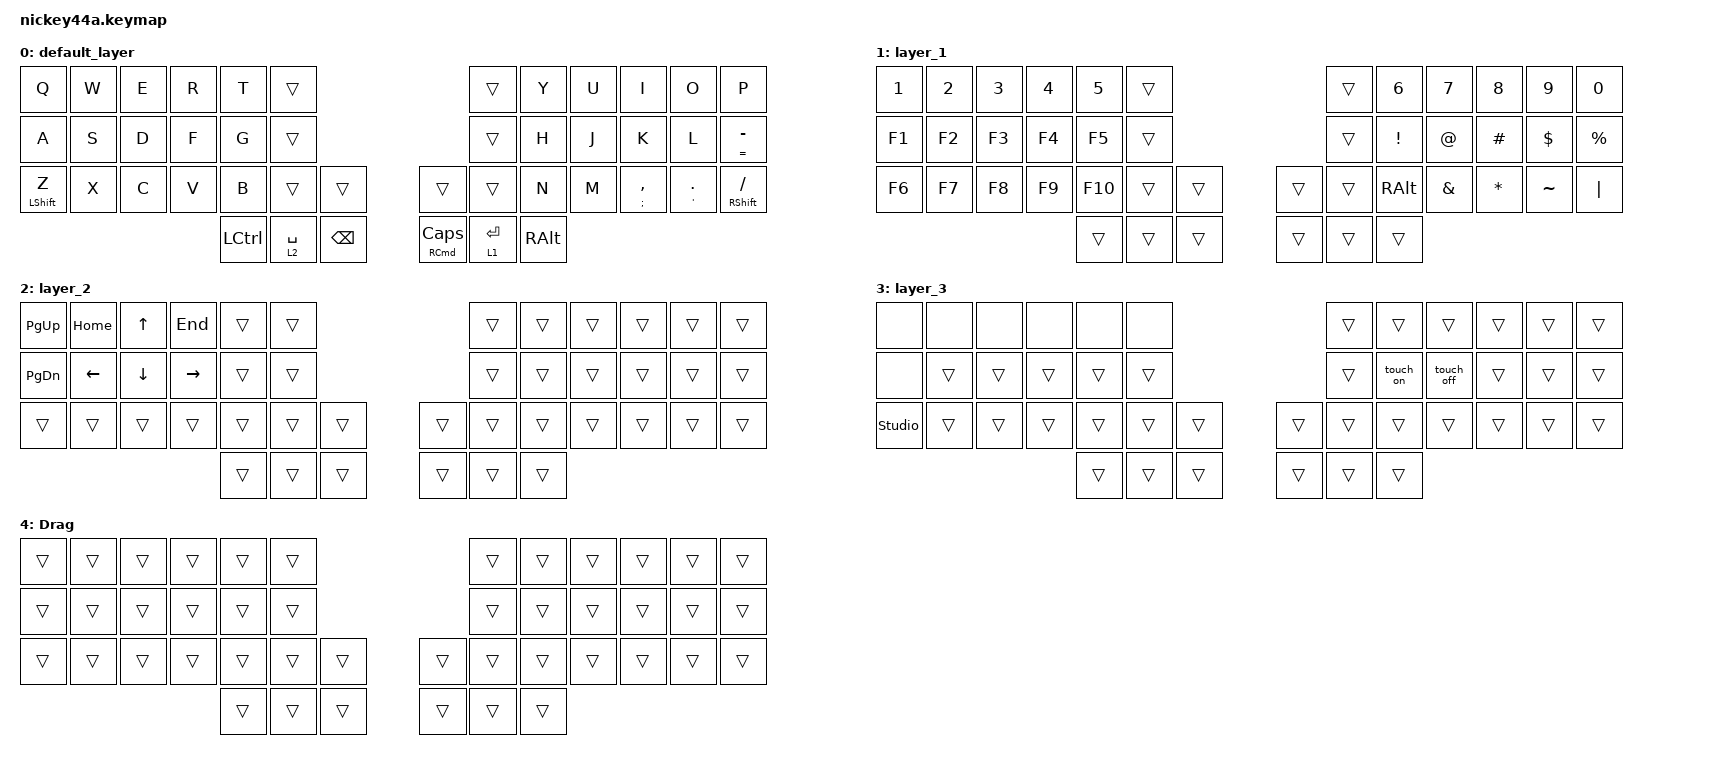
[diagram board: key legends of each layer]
#include <behaviors.dtsi>
#include <dt-bindings/zmk/keys.h>

&mt {
    flavor = "balanced";
    quick-tap-ms = <0>;
};

&lt {
    quick-tap-ms = <300>;
    flavor = "balanced";
};

/ {
    combos {
        compatible = "zmk,combos";

        combo_esc {
            bindings = <&kp ESCAPE>;
            key-positions = <0 1>;
        };

        combo_tab {
            bindings = <&kp TAB>;
            key-positions = <12 13>;
        };

        left_p {
            bindings = <&kp LEFT_PARENTHESIS>;
            key-positions = <14 15>;
        };

        l_d {
            bindings = <&kp LA(LC(D))>;
            key-positions = <24 25>;
        };

        c_d {
            bindings = <&kp LA(LC(F))>;
            key-positions = <25 26>;
        };

        r_d {
            bindings = <&kp LA(LC(G))>;
            key-positions = <26 27>;
        };

        f_d {
            bindings = <&kp LA(LC(ENTER))>;
            key-positions = <27 28>;
        };

        cap_1 {
            bindings = <&kp RS(RG(NUMBER_4))>;
            key-positions = <37 36>;
        };

        r_d2 {
            bindings = <&kp LA(LC(T))>;
            key-positions = <10 11>;
        };

        system {
            bindings = <&to 3>;
            key-positions = <38 39 40>;
        };

        right_p {
            bindings = <&kp RIGHT_PARENTHESIS>;
            key-positions = <15 16>;
        };

        /* Y + H + N + Right Alt: right half enters the bootloader. */
        boot_right {
            bindings = <&boot_right>;
            key-positions = <7 19 33 43>;
            timeout-ms = <80>;
        };

        /* T + G + B + Left Ctrl: left half enters the bootloader. */
        boot_left_combo {
            bindings = <&boot_left>;
            key-positions = <4 16 28 38>;
            timeout-ms = <80>;
        };
    };

    macros {
        touch_on: touch_on {
            compatible = "zmk,behavior-macro";
            #binding-cells = <0>;
            bindings = <&touch_feedback 1 &to 0>;
        };
        touch_off: touch_off {
            compatible = "zmk,behavior-macro";
            #binding-cells = <0>;
            bindings = <&touch_feedback 0 &to 0>;
        };

        to_layer_0: to_layer_0 {
            compatible = "zmk,behavior-macro-one-param";
            #binding-cells = <1>;
            bindings = <&to 0 &macro_param_1to1 &kp MACRO_PLACEHOLDER>;
            label = "TO_LAYER_0";
        };

        mission: mission {
            compatible = "zmk,behavior-macro";
            #binding-cells = <0>;
            bindings = <&kp LC(UP_ARROW)>;
            label = "MISSION";
        };

        launch: launch {
            compatible = "zmk,behavior-macro";
            #binding-cells = <0>;
            bindings = <&kp LG(L)>;
            label = "LAUNCH";
        };
    };

    behaviors {
        touch_feedback: touch_feedback {
            compatible = "zmk,behavior-touch-feedback";
            #binding-cells = <1>;
            display-name = "Touch feedback (0 off / 1 on)";
        };

        /*
         * Combos always run on the central (the nemu-link dongle), so a plain
         * &bootloader would reset the dongle. These send it to a half
         * instead (index = CONFIG_ZMK_NEMU_LINK_PERIPHERAL_ID: left 0,
         * right 1); that half must be connected. The dongle itself enters
         * its bootloader by holding its button while plugging it in.
         */
        boot_left: boot_left {
            compatible = "zmk,behavior-peripheral-invoke";
            #binding-cells = <0>;
            bindings = <&bootloader>;
            peripheral = <0>;
            display-name = "Bootloader (left)";
        };

        boot_right: boot_right {
            compatible = "zmk,behavior-peripheral-invoke";
            #binding-cells = <0>;
            bindings = <&bootloader>;
            peripheral = <1>;
            display-name = "Bootloader (right)";
        };

        lt_to_layer_0: lt_to_layer_0 {
            compatible = "zmk,behavior-hold-tap";
            label = "LAYER_TAP_TO_0";
            bindings = <&mo>, <&to_layer_0>;

            #binding-cells = <2>;
            tapping-term-ms = <200>;
        };
    };

    keymap {
        compatible = "zmk,keymap";

        default_layer {
            bindings = <
&kp Q        &kp W  &kp E  &kp R  &kp T      &trans                                                    &trans       &kp Y          &kp U  &kp I                &kp O                    &kp P
&kp A        &kp S  &kp D  &kp F  &kp G      &trans                                                    &trans       &kp H          &kp J  &kp K                &kp L                    &mt EQUAL MINUS
&mt LSHFT Z  &kp X  &kp C  &kp V  &kp B      &trans       &trans           &trans                      &trans       &kp N          &kp M  &mt SEMICOLON COMMA  &mt SINGLE_QUOTE PERIOD  &mt RIGHT_SHIFT SLASH
                                  &kp LCTRL  &lt 2 SPACE  &kp BACKSPACE    &mt RIGHT_COMMAND CAPSLOCK  &lt 1 ENTER  &kp RIGHT_ALT
            >;
        };

        layer_1 {
            bindings = <
&kp NUMBER_1  &kp NUMBER_2  &kp NUMBER_3  &kp NUMBER_4  &kp N5   &trans                    &trans  &kp NUMBER_6     &kp N7         &kp N8        &kp N9      &kp N0
&kp F1        &kp F2        &kp F3        &kp F4        &kp F5   &trans                    &trans  &kp EXCLAMATION  &kp AT_SIGN    &kp HASH      &kp DOLLAR  &kp PERCENT
&kp F6        &kp F7        &kp F8        &kp F9        &kp F10  &trans  &trans    &trans  &trans  &kp RIGHT_ALT    &kp AMPERSAND  &kp ASTERISK  &kp TILDE   &kp PIPE
                                                        &trans   &trans  &trans    &trans  &trans  &trans
            >;
        };

        layer_2 {
            bindings = <
&kp PG_UP      &kp HOME        &kp UP_ARROW  &kp END    &trans  &trans                    &trans  &trans  &trans  &trans  &trans  &trans
&kp PAGE_DOWN  &kp LEFT_ARROW  &kp DOWN      &kp RIGHT  &trans  &trans                    &trans  &trans  &trans  &trans  &trans  &trans
&trans         &trans          &trans        &trans     &trans  &trans  &trans    &trans  &trans  &trans  &trans  &trans  &trans  &trans
                                                        &trans  &trans  &trans    &trans  &trans  &trans
            >;
        };

        layer_3 {
            bindings = <
&none           &none         &none         &none         &none         &none                           &trans  &trans  &trans  &trans  &trans  &trans
&none           &trans        &trans        &trans        &trans        &trans                          &trans  &touch_on  &touch_off  &trans  &trans  &trans
&studio_unlock  &trans        &trans        &trans        &trans        &trans        &trans    &trans  &trans  &trans  &trans  &trans  &trans  &trans
                                                          &trans        &trans        &trans    &trans  &trans  &trans
            >;
        };

        drag_layer {
            display-name = "Drag";
            bindings = <
&trans  &trans  &trans  &trans  &trans  &trans                    &trans  &trans  &trans  &trans  &trans  &trans
&trans  &trans  &trans  &trans  &trans  &trans                    &trans  &trans  &trans  &trans  &trans  &trans
&trans  &trans  &trans  &trans  &trans  &trans  &trans    &trans  &trans  &trans  &trans  &trans  &trans  &trans
                                &trans  &trans  &trans    &trans  &trans  &trans
            >;
        };
    };
};
